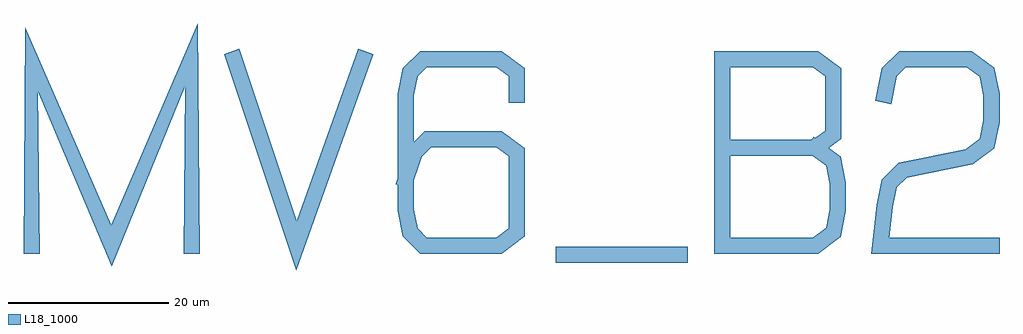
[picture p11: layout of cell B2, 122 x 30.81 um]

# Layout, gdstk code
import gdstk
lib = gdstk.Library(unit=1e-6, precision=1e-09)
L18_1000 = (18, 1000)

c_b2 = lib.new_cell('B2')
c_b2.add(gdstk.FlexPath([(-480.012,-306.995),(-480.012,-283.662),(-470.012,-306.995),(-460.012,-283.107),(-460.012,-306.995)], 2, ends="extended", simple_path=True, layer=18, datatype=1000))  # L18_1000
c_b2.add(gdstk.FlexPath([(-454.679,-283.662),(-446.902,-306.995),(-438.568,-283.662)], 2, ends="extended", simple_path=True, layer=18, datatype=1000))  # L18_1000
c_b2.add(gdstk.FlexPath([(-419.347,-288.107),(-419.347,-285.329),(-421.569,-283.662),(-431.013,-283.662),(-432.68,-285.329),(-433.235,-288.107),(-433.235,-302.551),(-432.68,-305.329),(-431.013,-306.995),(-421.569,-306.995),(-419.347,-305.329),(-419.347,-295.329),(-421.569,-293.662),(-430.458,-293.662),(-432.124,-295.329),(-433.235,-298.662)], 2, ends="extended", simple_path=True, layer=18, datatype=1000))  # L18_1000
c_b2.add(gdstk.FlexPath([(-413.458,-308.106),(-399.014,-308.106)], 2, ends="extended", simple_path=True, layer=18, datatype=1000))  # L18_1000
c_b2.add(gdstk.FlexPath([(-393.681,-306.995),(-393.681,-283.662),(-382.015,-283.662),(-379.793,-285.329),(-379.793,-287.551),(-379.793,-290.884),(-379.793,-293.107),(-382.015,-294.773),(-393.681,-294.773)], 2, ends="extended", simple_path=True, layer=18, datatype=1000))  # L18_1000
c_b2.add(gdstk.FlexPath([(-382.015,-294.773),(-379.793,-296.44),(-379.237,-299.218),(-379.237,-302.551),(-379.793,-305.329),(-382.015,-306.995),(-393.681,-306.995)], 2, ends="extended", simple_path=True, layer=18, datatype=1000))  # L18_1000
c_b2.add(gdstk.FlexPath([(-373.349,-288.107),(-372.793,-285.329),(-371.127,-283.662),(-362.793,-283.662),(-360.571,-285.329),(-360.016,-288.107),(-360.016,-291.44),(-360.571,-294.218),(-362.793,-295.884),(-371.127,-297.551),(-372.793,-299.218),(-373.349,-301.995),(-373.904,-306.995),(-360.016,-306.995)], 2, ends="extended", simple_path=True, layer=18, datatype=1000))  # L18_1000

lib.write_gds('B2.gds')
